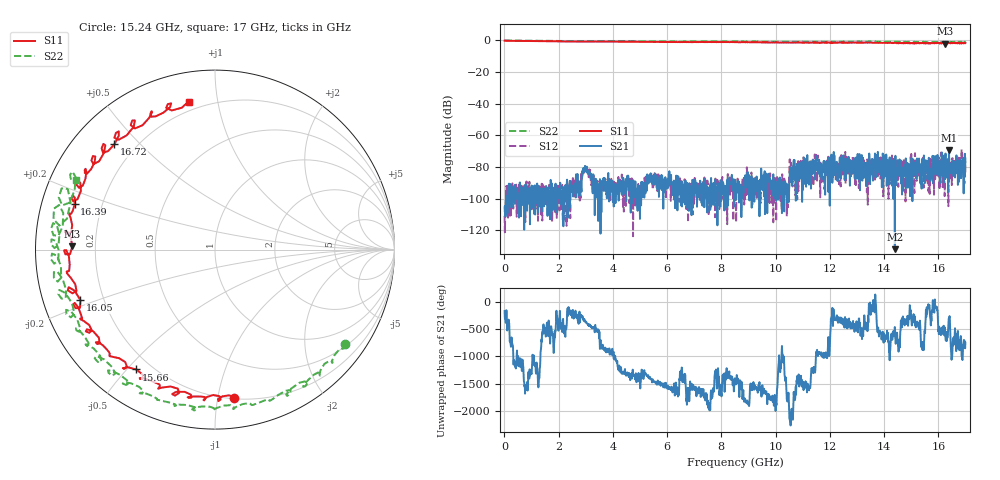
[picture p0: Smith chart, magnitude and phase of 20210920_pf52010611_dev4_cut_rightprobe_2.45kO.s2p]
!Agilent Technologies,N5230A,MY46400908,A.07.50.13
!Agilent N5230A: A.07.50.13
!Date: Monday, September 20, 2021 15:24:12
!Correction: S11(Full 2 Port(1,2))
!S21(Full 2 Port(1,2))
!S12(Full 2 Port(1,2))
!S22(Full 2 Port(1,2))
!S2P File: Measurements: S11, S21, S12, S22:
# Hz S  RI  R 50
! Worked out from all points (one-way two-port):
!   1601 points, 10 MHz to 17 GHz, reference 50 ohm
!   highest |S21| = -69.42 dB at 16.39 GHz (marker M1); lowest = -132.1 dB at 14.4 GHz (marker M2)
!   lowest |S11| = -2.0 dB at 16.26 GHz (marker M3), VSWR 8.74, Z = 5.72 + j0.575 ohm
!   |S11| at or under -10 dB: nowhere
!   |S22| runs from -1.5 to 0.0 dB; largest |S21 - S12| = 0.00039
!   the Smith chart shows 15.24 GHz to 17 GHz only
!   S11 on the Smith chart (normalised r, x): 15.24 GHz: 0.21, -1.12; 15.66 GHz: 0.14, -0.53; 16.05 GHz: 0.11, -0.18; 16.39 GHz: 0.10, +0.16; 16.72 GHz: 0.12, +0.42; 17 GHz: 0.15, +0.83
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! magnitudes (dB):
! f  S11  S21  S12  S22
! 10 MHz  -0.1  -105.4  -110.8  0.0
! 2.845 GHz  -0.7  -95.6  -89.1  -0.4
! 5.68 GHz  -0.9  -88.9  -84.5  -0.6
! 8.505 GHz  -1.0  -91.0  -101.0  -0.6
! 11.34 GHz  -1.3  -76.3  -79.3  -0.9
! 11.52 GHz  -1.4  -81.7  -75.8  -0.8
! 11.73 GHz  -1.4  -79.0  -80.9  -0.9
! 12.03 GHz  -1.1  -84.1  -83.5  -0.9
! 12.27 GHz  -1.3  -78.4  -84.6  -1.0
! 12.57 GHz  -1.3  -74.7  -70.4  -0.5
! 12.94 GHz  -1.2  -74.1  -86.3  -0.8
! 13.28 GHz  -1.3  -84.4  -85.9  -0.8
! 13.72 GHz  -1.5  -79.8  -81.5  -0.8
! 14.18 GHz  -1.5  -89.1  -77.7  -0.9
! 14.4 GHz  -1.6  -132.1  -85.7  -0.7
! 15.24 GHz  -1.6  -78.1  -82.3  -1.0
! 15.66 GHz  -2.0  -79.1  -84.4  -1.1
! 16.05 GHz  -1.9  -76.5  -84.6  -0.9
! 16.26 GHz  -2.0  -77.4  -74.5  -0.9
! 16.39 GHz  -1.7  -69.4  -73.9  -1.1
! 16.72 GHz  -1.8  -91.2  -77.5  -1.0
! 17 GHz  -1.5  -74.6  -76.4  -1.2
